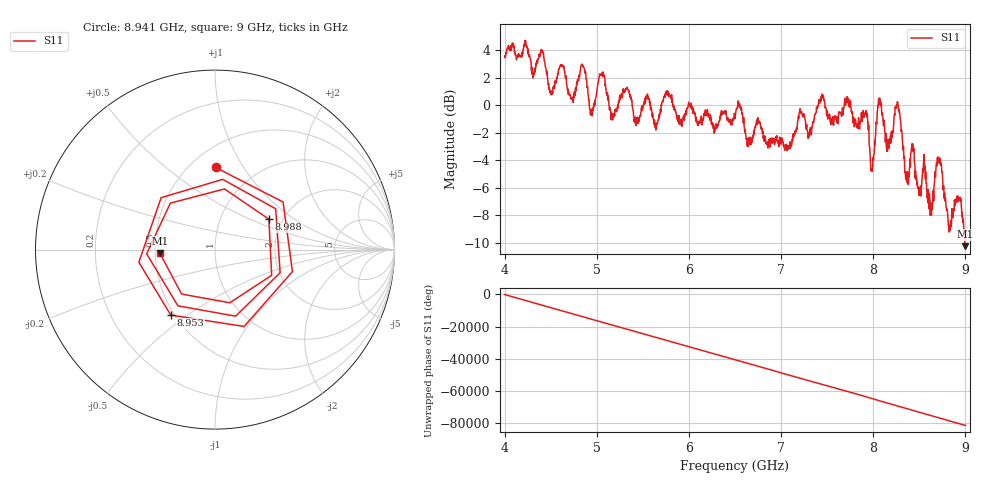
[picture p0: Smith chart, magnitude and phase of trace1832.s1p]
! Created with skrf 1.8.0 (http://scikit-rf.org).
# Hz S RI R 50.0
!freq ReS11 ImS11
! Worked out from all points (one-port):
!   1601 points, 4 GHz to 9 GHz, reference 50 ohm
!   lowest |S11| = -10.2 dB at 9 GHz (marker M1), VSWR 1.89, Z = 26.5 - j1.23 ohm
!   |S11| at or under -10 dB: 8.993306 GHz to end of sweep
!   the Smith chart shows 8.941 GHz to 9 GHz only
!   S11 on the Smith chart (normalised r, x): 8.941 GHz: 0.66, +0.76; 8.953 GHz: 0.48, -0.43; 8.988 GHz: 1.70, +0.65; 9 GHz: 0.53, -0.02
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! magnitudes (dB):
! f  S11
! 4 GHz  3.6
! 4.4 GHz  4.0
! 4.506 GHz  0.8
! 4.625 GHz  2.8
! 4.728 GHz  0.5
! 4.853 GHz  2.8
! 4.944 GHz  -0.3
! 5.053 GHz  2.3
! 5.162 GHz  -0.9
! 5.25 GHz  0.7
! 5.875 GHz  -0.7
! 6.5 GHz  -1.0
! 7.125 GHz  -2.6
! 7.75 GHz  -0.1
! 7.919 GHz  -0.4
! 7.988 GHz  -4.8
! 8.062 GHz  0.0
! 8.166 GHz  -2.9
! 8.262 GHz  0.3
! 8.375 GHz  -4.9
! 8.425 GHz  -3.2
! 8.625 GHz  -7.1
! 8.712 GHz  -4.2
! 8.825 GHz  -9.1
! 8.941 GHz  -6.8
! 8.953 GHz  -7.1
! 8.988 GHz  -9.2
! 9 GHz  -10.2
